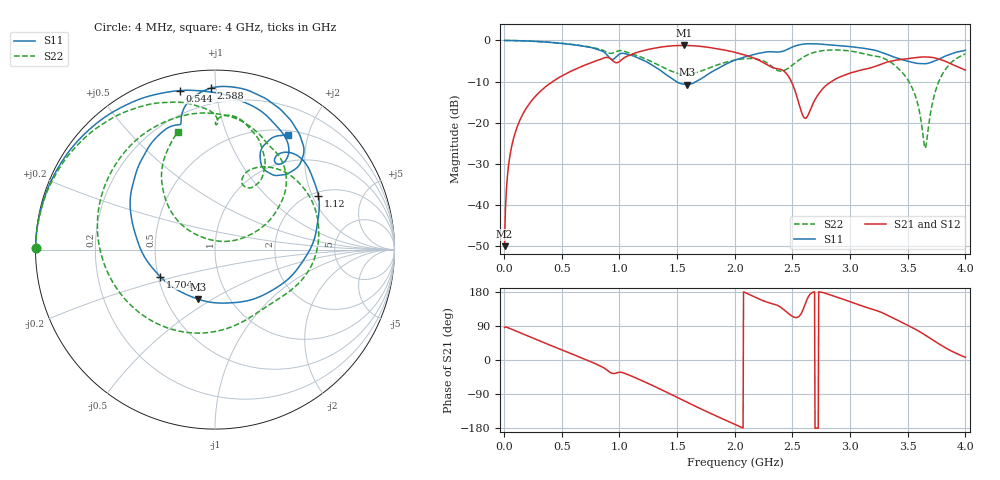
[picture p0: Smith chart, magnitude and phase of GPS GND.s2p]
! TOUCHSTONE file generated by CST MICROWAVE STUDIO
! Date and time: Fri Jun 12 09:03:45 2026
! Project name: D-0001701866_01-XY+0 Z+1.4 W26 SPK-0528-baseline-SPK HSG - NMT Lengthen-2 - 3 - op2.cst
! Header version: 2024
! Port assignment regex: !\s*Touchstone port\s*([0-9]+)\s*=\s*(CST MWS port|CST DES external port|CST DES block port)\s*(.+)\s* \(\"(.*)\"\)(\s*mode\s*([0-9]+))?.*
! Touchstone port assignment:
! Touchstone port 1 = CST MWS port 1 ("")
! Touchstone port 2 = CST MWS port 2 ("")
# GHz S MA R 50
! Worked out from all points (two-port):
!   1000 points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, 4 MHz to 4 GHz, reference 50 ohm
!   highest |S21| = -1.20 dB at 1.56 GHz (marker M1); lowest = -49.9 dB at 4 MHz (marker M2)
!   |S21| within 3 dB of the highest: 1.041 GHz to 2.159 GHz (1.119 GHz wide, 69.9 % of centre); 3.564 GHz to 3.728 GHz (163.8 MHz wide, 4.49 % of centre)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
!   lowest |S11| = -10.7 dB at 1.588 GHz (marker M3), VSWR 1.82, Z = 35.9 - j21.7 ohm
!   |S11| at or under -10 dB: 1.493 GHz to 1.663 GHz (169.7 MHz wide, 10.7 % of centre)
!   |S22| runs from -26.2 to 0.0 dB; largest |S21 - S12| = 0.0024
!   S11 on the Smith chart (normalised r, x): 4 MHz: 0.00, +0.01; 544 MHz: 0.08, +0.80; 1.12 GHz: 2.16, +2.22; 1.704 GHz: 0.51, -0.17; 2.588 GHz: 0.10, +0.97; 4 GHz: 0.56, +1.68
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0.004  0.9994 179.4  0.003188 85.9  0.003156 80.4  0.9993 179.6
0.048  0.998 172.9  0.03823 83.4  0.03807 83.8  0.9987 174.6
0.124  0.9931 161.8  0.09784 73.7  0.09768 73.5  0.9936 166.2
0.544  0.9077 102.5  0.3995 21.4  0.4003 21.3  0.9103 121.3
0.672  0.8593 84.8  0.4839 5.7  0.4832 5.6  0.8646 108.5
1.12  0.6491 27.4  0.6903 -44.4  0.6881 -44.5  0.6815 71.0
1.336  0.4525 -18.5  0.821 -74.3  0.8192 -74.4  0.5051 57.7
1.56  0.2937 -96.6  0.8708 -107.5  0.8693 -107.6  0.388 63.3
1.588  0.2917 -108.9  0.8687 -111.7  0.8679 -111.6  0.3882 64.8
1.704  0.3404 -153.8  0.8465 -128.8  0.8461 -128.7  0.4235 69.0
2.004  0.5778 143.1  0.7154 -170.4  0.7156 -170.4  0.5797 48.8
2.276  0.7241 112.5  0.5112 153.1  0.51 153.1  0.5389 -11.3
2.476  0.8021 102.6  0.347 120.1  0.3469 119.9  0.4732 -100.6
2.588  0.9003 91.3  0.1246 129.8  0.1238 129.2  0.6186 -171.0
2.668  0.9108 83.1  0.1586 177.3  0.1589 176.8  0.7021 153.7
2.776  0.8951 74.4  0.2713 176.9  0.2715 176.7  0.7565 122.1
2.908  0.8661 65.9  0.3584 163.5  0.358 163.5  0.7654 96.6
3.336  0.6653 45.1  0.5523 116.3  0.554 116.4  0.563 45.2
3.54  0.5428 49.5  0.6111 85.3  0.6111 85.6  0.2626 24.3
3.652  0.522 57.5  0.6299 65.6  0.6298 65.8  0.04922 83.4
3.78  0.6011 65.1  0.5875 40.8  0.5887 40.9  0.3428 137.9
4  0.7582 57.5  0.4371 7.2  0.4366 7.3  0.6874 107.4
